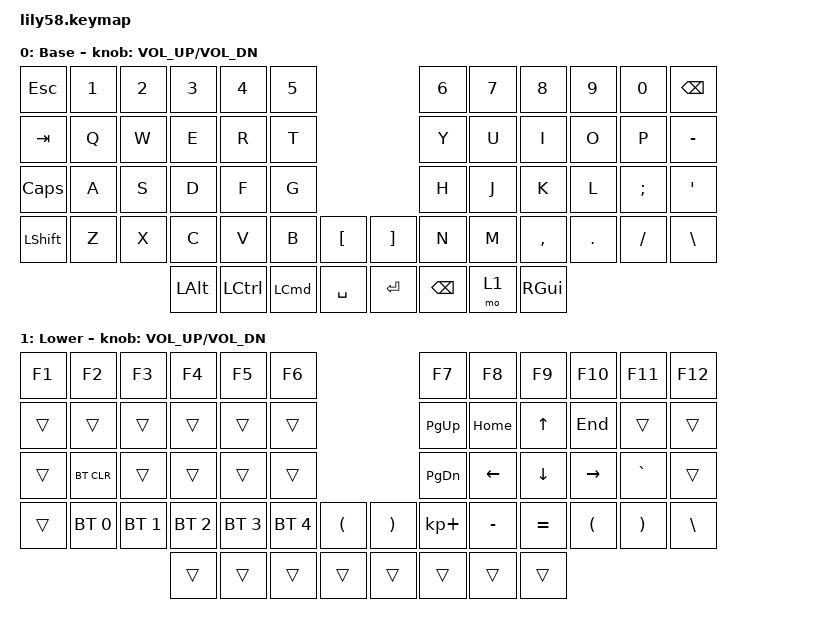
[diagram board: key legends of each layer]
/*
 * Copyright (c) 2020 The ZMK Contributors
 *
 * SPDX-License-Identifier: MIT
 */

#include <behaviors.dtsi>
#include <dt-bindings/zmk/bt.h>
#include <dt-bindings/zmk/keys.h>

/ {
    keymap {
        compatible = "zmk,keymap";

        default_layer {
            // ------------------------------------------------------------------------------------------------------------
            // |  ESC  |  1  |  2  |  3   |  4   |  5   |                   |  6   |  7    |  8    |  9   |   0   |   `   |
            // |  TAB  |  Q  |  W  |  E   |  R   |  T   |                   |  Y   |  U    |  I    |  O   |   P   |   -   |
            // |  CTRL |  A  |  S  |  D   |  F   |  G   |                   |  H   |  J    |  K    |  L   |   ;   |   '   |
            // | SHIFT |  Z  |  X  |  C   |  V   |  B   |   "["  |  |  "]"  |  N   |  M    |  ,    |  .   |   /   | SHIFT |
            //                     | ALT  | GUI  | LOWER|  SPACE |  | ENTER | RAISE| BSPC  | GUI   |

            label = "Base";
            bindings = <
&kp ESCAPE    &kp N1  &kp N2  &kp N3    &kp N4     &kp N5                           &kp N6         &kp N7  &kp N8     &kp N9   &kp N0    &kp BACKSPACE
&kp TAB       &kp Q   &kp W   &kp E     &kp R      &kp T                            &kp Y          &kp U   &kp I      &kp O    &kp P     &kp MINUS
&kp CAPSLOCK  &kp A   &kp S   &kp D     &kp F      &kp G                            &kp H          &kp J   &kp K      &kp L    &kp SEMI  &kp SQT
&kp LSHFT     &kp Z   &kp X   &kp C     &kp V      &kp B     &kp LBKT     &kp RBKT  &kp N          &kp M   &kp COMMA  &kp DOT  &kp FSLH  &kp BSLH
                              &kp LALT  &kp LCTRL  &kp LCMD  &kp SPACE    &kp RET   &kp BACKSPACE  &mo 1   &kp RGUI
            >;

            sensor-bindings = <&inc_dec_kp C_VOL_UP C_VOL_DN>;
        };

        lower_layer {
            // ------------------------------------------------------------------------------------------------------------
            // | BTCLR | BT1 | BT2 |  BT3 |  BT4 |  BT5 |                   |      |       |       |      |       |       |
            // |  F1   |  F2 |  F3 |  F4  |  F5  |  F6  |                   |  F7  |  F8   |  F9   |  F10 |  F11  |  F12  |
            // |   `   |  !  |  @  |  #   |  $   |  %   |                   |  ^   |  &    |  *    |  (   |   )   |   ~   |
            // |       |     |     |      |      |      |        |  |       |      |  _    |  +    |  {   |   }   |  "|"  |
            //                     |      |      |      |        |  |       |      |       |       |

            label = "Lower";
            bindings = <
&kp F1  &kp F2        &kp F3        &kp F4        &kp F5        &kp F6                                                       &kp F7       &kp F8          &kp F9          &kp F10               &kp F11                &kp F12
&trans  &trans        &trans        &trans        &trans        &trans                                                       &kp PG_UP    &kp HOME        &kp UP_ARROW    &kp END               &trans                 &trans
&trans  &bt BT_CLR    &trans        &trans        &trans        &trans                                                       &kp PG_DN    &kp LEFT_ARROW  &kp DOWN_ARROW  &kp RIGHT_ARROW       &kp GRAVE              &trans
&trans  &bt BT_SEL 0  &bt BT_SEL 1  &bt BT_SEL 2  &bt BT_SEL 3  &bt BT_SEL 4  &kp LEFT_PARENTHESIS    &kp RIGHT_PARENTHESIS  &kp KP_PLUS  &kp MINUS       &kp EQUAL       &kp LEFT_PARENTHESIS  &kp RIGHT_PARENTHESIS  &kp BACKSLASH
                                    &trans        &trans        &trans        &trans                  &trans                 &trans       &trans          &trans
            >;

            sensor-bindings = <&inc_dec_kp C_VOL_UP C_VOL_DN>;
        };
    };
};
